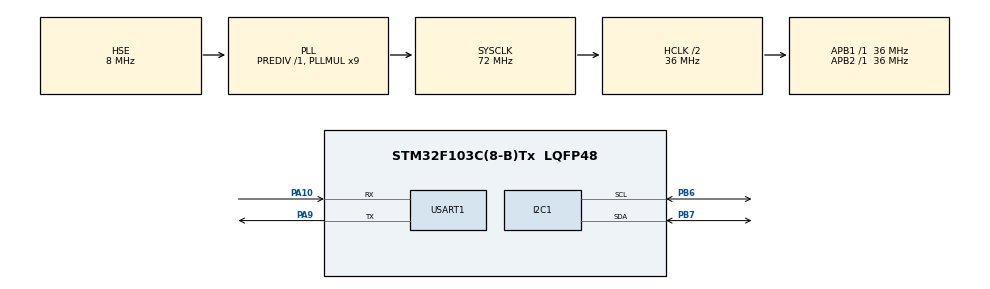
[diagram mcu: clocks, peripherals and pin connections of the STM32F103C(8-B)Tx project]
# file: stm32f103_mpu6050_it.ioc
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Mcu.Family=STM32F1
Mcu.Name=STM32F103C(8-B)Tx
Mcu.Package=LQFP48
NVIC.PriorityGroup=NVIC_PRIORITYGROUP_4
NVIC.TIM2_IRQn=true\:0\:0\:false\:false\:true\:true
PA10.Mode=Asynchronous
PA10.Signal=USART1_RX
PA9.Mode=Asynchronous
PA9.Signal=USART1_TX
PB6.Mode=I2C
PB6.Signal=I2C1_SCL
PB7.Mode=I2C
PB7.Signal=I2C1_SDA
PD0-OSC_IN.Mode=HSE-External-Oscillator
PD0-OSC_IN.Signal=RCC_OSC_IN
PD1-OSC_OUT.Mode=HSE-External-Oscillator
PD1-OSC_OUT.Signal=RCC_OSC_OUT
ProjectManager.HeapSize=0x200
ProjectManager.StackSize=0x400
ProjectManager.TargetToolchain=SW4STM32
RCC.AHBCLKDivider=RCC_SYSCLK_DIV2
RCC.AHBFreq_Value=36000000
RCC.APB1Freq_Value=36000000
RCC.APB1TimFreq_Value=36000000
RCC.APB2Freq_Value=36000000
RCC.APB2TimFreq_Value=36000000
RCC.HCLKFreq_Value=36000000
RCC.PLLMUL=RCC_PLL_MUL9
RCC.PLLSourceVirtual=RCC_PLLSOURCE_HSE
RCC.SYSCLKFreq_VALUE=72000000
RCC.SYSCLKSource=RCC_SYSCLKSOURCE_PLLCLK
RCC.USBFreq_Value=72000000
TIM2.Period=20
TIM2.Prescaler=36000
TIM2.TIM_MasterOutputTrigger=TIM_TRGO_UPDATE
USART1.VirtualMode=VM_ASYNC
VP_SYS_VS_ND.Mode=No_Debug
VP_TIM2_VS_ClockSourceINT.Mode=Internal
board=stm32f103_mpu6050_it

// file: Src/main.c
/**
 ******************************************************************************
 * File Name          : main.c
 * Description        : Main program body
 ******************************************************************************
 ** This notice applies to any and all portions of this file
 * that are not between comment pairs USER CODE BEGIN and
 * USER CODE END. Other portions of this file, whether
 * inserted by the user or by software development tools
 * are owned by their respective copyright owners.
 *
 * COPYRIGHT(c) 2018 STMicroelectronics
 *
 * Redistribution and use in source and binary forms, with or without modification,
 * are permitted provided that the following conditions are met:
 *   1. Redistributions of source code must retain the above copyright notice,
 *      this list of conditions and the following disclaimer.
 *   2. Redistributions in binary form must reproduce the above copyright notice,
 *      this list of conditions and the following disclaimer in the documentation
 *      and/or other materials provided with the distribution.
 *   3. Neither the name of STMicroelectronics nor the names of its contributors
 *      may be used to endorse or promote products derived from this software
 *      without specific prior written permission.
 *
 * THIS SOFTWARE IS PROVIDED BY THE COPYRIGHT HOLDERS AND CONTRIBUTORS "AS IS"
 * AND ANY EXPRESS OR IMPLIED WARRANTIES, INCLUDING, BUT NOT LIMITED TO, THE
 * IMPLIED WARRANTIES OF MERCHANTABILITY AND FITNESS FOR A PARTICULAR PURPOSE ARE
 * DISCLAIMED. IN NO EVENT SHALL THE COPYRIGHT HOLDER OR CONTRIBUTORS BE LIABLE
 * FOR ANY DIRECT, INDIRECT, INCIDENTAL, SPECIAL, EXEMPLARY, OR CONSEQUENTIAL
 * DAMAGES (INCLUDING, BUT NOT LIMITED TO, PROCUREMENT OF SUBSTITUTE GOODS OR
 * SERVICES; LOSS OF USE, DATA, OR PROFITS; OR BUSINESS INTERRUPTION) HOWEVER
 * CAUSED AND ON ANY THEORY OF LIABILITY, WHETHER IN CONTRACT, STRICT LIABILITY,
 * OR TORT (INCLUDING NEGLIGENCE OR OTHERWISE) ARISING IN ANY WAY OUT OF THE USE
 * OF THIS SOFTWARE, EVEN IF ADVISED OF THE POSSIBILITY OF SUCH DAMAGE.
 *
 ******************************************************************************
 */

#include "main.h"
#include "stm32f1xx_hal.h"

/* USER CODE BEGIN Includes */
#include "MPU6050/MPU6050.h"
#include <string.h>
#include <inttypes.h>
#include <stdbool.h>

/* USER CODE END Includes */

I2C_HandleTypeDef hi2c1;

TIM_HandleTypeDef htim2;

UART_HandleTypeDef huart1;

/* USER CODE BEGIN PV */
/* Private variables ---------------------------------------------------------*/

/* USER CODE END PV */

void SystemClock_Config(void);
static void MX_GPIO_Init(void);
static void MX_I2C1_Init(void);
static void MX_USART1_UART_Init(void);
static void MX_TIM2_Init(void);

/* USER CODE BEGIN PFP */
/* Private function prototypes -----------------------------------------------*/

/* USER CODE END PFP */

/* USER CODE BEGIN 0 */
/*----------------------------------------------------------
 *	Platform dependent function that performs an I2C write
 *	to a register.
 *
 *	params:
 *
 *	addr -- 8 bit i2c address to write to.
 *
 *	reg -- 8 bit register to write to.
 *
 *	*data -- 8 bit wide data buffer that holds data one
 *	wishes to write to.
 *
 *	len -- number of bytes to write.
 *---------------------------------------------------------*/
uint32_t I2C_TIMEOUT = 50;
void _i2c_write_reg(uint8_t addr, uint8_t reg, uint8_t *data, uint16_t len) {
	HAL_I2C_Mem_Write(&hi2c1, addr, reg,
	I2C_MEMADD_SIZE_8BIT, data, len, I2C_TIMEOUT);
}

/*----------------------------------------------------------
 *	Platform dependent function that performs an I2C read
 *	from a register.
 *
 *	params:
 *
 *	addr -- 8 bit i2c address to read from.
 *
 *	reg -- 8 bit register to start reading from.
 *
 *	*data -- 8 bit wide data buffer to holds data that will
 *	be read.
 *
 *	len -- number of bytes to read.
 *---------------------------------------------------------*/
void _i2c_read_reg(uint8_t addr, uint8_t reg, uint8_t *data, uint16_t len) {
	HAL_I2C_Mem_Read(&hi2c1, addr, reg,
	I2C_MEMADD_SIZE_8BIT, data, len, I2C_TIMEOUT);
}

/*-----------------------------------------
 *	Platform dependent function that
 *	returns the number of milliseconds
 *	elapsed since boot as an unsigned 32
 *	bit value.
 *----------------------------------------*/
uint32_t _get_ms_tick(void) {
	return HAL_GetTick();
}

/*-----------------------------------------
 *	Platform dependent function that sends
 *	a string to the onboard USART.
 *
 *	params:
 *
 *	*str -- string that will be sent
 *
 *	len -- length of the string to be
 *	sent.
 *----------------------------------------*/
uint32_t UART_TIMEOUT = 50;
void uart_print(char *str, uint32_t len) {
	HAL_UART_Transmit(&huart1, (uint8_t *) str, len, 50);
}

//string buffer that is used for concatenating and
//constructing strings.
char strbuf[64];

/*-------------------------------------------
 *	Function that flushes the string buffer.
 *------------------------------------------*/
void flush_strbuf() {
	memset(strbuf, 0, 64);
}

/*********************************************************************/

//struct for holding IMU readings
Mpu6050 mpu6050;

//floats for holding pitch/roll angles
volatile float pitch, roll;

void HAL_TIM_PeriodElapsedCallback(TIM_HandleTypeDef *htim) {

	UNUSED(htim);

	//update IMU, and calculate pitch/roll angles
	mpu6050_update(&mpu6050);
	mpu6050_calc_pitch_roll(&mpu6050, &pitch, &roll);
}

/* USER CODE END 0 */

int main(void) {

	/* MCU Configuration----------------------------------------------------------*/

	/* Reset of all peripherals, Initializes the Flash interface and the Systick. */
	HAL_Init();

	/* Configure the system clock */
	SystemClock_Config();

	/* Initialize all configured peripherals */
	MX_GPIO_Init();
	MX_I2C1_Init();
	MX_USART1_UART_Init();
	MX_TIM2_Init();

	/* USER CODE BEGIN 2 */
	//Populate mpu6050 function pointers to platform dependent functions
	//declared above.
	I2C_Write_Reg = _i2c_write_reg;
	I2C_Read_Reg = _i2c_read_reg;
	Get_ms_tick = _get_ms_tick;

	mpu6050_init(&mpu6050, 0.00, 0.00);

	HAL_TIM_Base_Start_IT(&htim2);

	/* USER CODE END 2 */

	/* Infinite loop */
	/* USER CODE BEGIN WHILE */
	while (1) {

		//flush string buffer, and then write pitch/roll values
		//into a debug message. Write this message to the USART
		//so it can be viewed in a terminal emulator(115200 baud,
		//8 bits data, 1 stop bit, no parity, no flow control)
		flush_strbuf();
		sprintf(strbuf, "Pitch: %f, Roll: %f\n", pitch, roll);
		uart_print(strbuf, strlen(strbuf));

		/* USER CODE END WHILE */

	}

}

/** System Clock Configuration
 */
void SystemClock_Config(void) {

	RCC_OscInitTypeDef RCC_OscInitStruct;
	RCC_ClkInitTypeDef RCC_ClkInitStruct;

	/**Initializes the CPU, AHB and APB busses clocks
	 */
	RCC_OscInitStruct.OscillatorType = RCC_OSCILLATORTYPE_HSE;
	RCC_OscInitStruct.HSEState = RCC_HSE_ON;
	RCC_OscInitStruct.HSEPredivValue = RCC_HSE_PREDIV_DIV1;
	RCC_OscInitStruct.HSIState = RCC_HSI_ON;
	RCC_OscInitStruct.PLL.PLLState = RCC_PLL_ON;
	RCC_OscInitStruct.PLL.PLLSource = RCC_PLLSOURCE_HSE;
	RCC_OscInitStruct.PLL.PLLMUL = RCC_PLL_MUL9;
	if (HAL_RCC_OscConfig(&RCC_OscInitStruct) != HAL_OK) {
		_Error_Handler(__FILE__, __LINE__);
	}

	/**Initializes the CPU, AHB and APB busses clocks
	 */
	RCC_ClkInitStruct.ClockType = RCC_CLOCKTYPE_HCLK | RCC_CLOCKTYPE_SYSCLK
			| RCC_CLOCKTYPE_PCLK1 | RCC_CLOCKTYPE_PCLK2;
	RCC_ClkInitStruct.SYSCLKSource = RCC_SYSCLKSOURCE_PLLCLK;
	RCC_ClkInitStruct.AHBCLKDivider = RCC_SYSCLK_DIV2;
	RCC_ClkInitStruct.APB1CLKDivider = RCC_HCLK_DIV1;
	RCC_ClkInitStruct.APB2CLKDivider = RCC_HCLK_DIV1;

	if (HAL_RCC_ClockConfig(&RCC_ClkInitStruct, FLASH_LATENCY_2) != HAL_OK) {
		_Error_Handler(__FILE__, __LINE__);
	}

	/**Configure the Systick interrupt time
	 */
	HAL_SYSTICK_Config(HAL_RCC_GetHCLKFreq() / 1000);

	/**Configure the Systick
	 */
	HAL_SYSTICK_CLKSourceConfig(SYSTICK_CLKSOURCE_HCLK);

	/* SysTick_IRQn interrupt configuration */
	HAL_NVIC_SetPriority(SysTick_IRQn, 0, 0);
}

/* I2C1 init function */
static void MX_I2C1_Init(void) {

	hi2c1.Instance = I2C1;
	hi2c1.Init.ClockSpeed = 100000;
	hi2c1.Init.DutyCycle = I2C_DUTYCYCLE_2;
	hi2c1.Init.OwnAddress1 = 0;
	hi2c1.Init.AddressingMode = I2C_ADDRESSINGMODE_7BIT;
	hi2c1.Init.DualAddressMode = I2C_DUALADDRESS_DISABLE;
	hi2c1.Init.OwnAddress2 = 0;
	hi2c1.Init.GeneralCallMode = I2C_GENERALCALL_DISABLE;
	hi2c1.Init.NoStretchMode = I2C_NOSTRETCH_DISABLE;
	if (HAL_I2C_Init(&hi2c1) != HAL_OK) {
		_Error_Handler(__FILE__, __LINE__);
	}

}

/* TIM2 init function */
static void MX_TIM2_Init(void) {

	TIM_ClockConfigTypeDef sClockSourceConfig;
	TIM_MasterConfigTypeDef sMasterConfig;

	htim2.Instance = TIM2;
	htim2.Init.Prescaler = 36000;
	htim2.Init.CounterMode = TIM_COUNTERMODE_UP;
	htim2.Init.Period = 20;
	htim2.Init.ClockDivision = TIM_CLOCKDIVISION_DIV1;
	htim2.Init.AutoReloadPreload = TIM_AUTORELOAD_PRELOAD_DISABLE;
	if (HAL_TIM_Base_Init(&htim2) != HAL_OK) {
		_Error_Handler(__FILE__, __LINE__);
	}

	sClockSourceConfig.ClockSource = TIM_CLOCKSOURCE_INTERNAL;
	if (HAL_TIM_ConfigClockSource(&htim2, &sClockSourceConfig) != HAL_OK) {
		_Error_Handler(__FILE__, __LINE__);
	}

	sMasterConfig.MasterOutputTrigger = TIM_TRGO_UPDATE;
	sMasterConfig.MasterSlaveMode = TIM_MASTERSLAVEMODE_DISABLE;
	if (HAL_TIMEx_MasterConfigSynchronization(&htim2, &sMasterConfig)
			!= HAL_OK) {
		_Error_Handler(__FILE__, __LINE__);
	}

}

/* USART1 init function */
static void MX_USART1_UART_Init(void) {

	huart1.Instance = USART1;
	huart1.Init.BaudRate = 115200;
	huart1.Init.WordLength = UART_WORDLENGTH_8B;
	huart1.Init.StopBits = UART_STOPBITS_1;
	huart1.Init.Parity = UART_PARITY_NONE;
	huart1.Init.Mode = UART_MODE_TX_RX;
	huart1.Init.HwFlowCtl = UART_HWCONTROL_NONE;
	huart1.Init.OverSampling = UART_OVERSAMPLING_16;
	if (HAL_UART_Init(&huart1) != HAL_OK) {
		_Error_Handler(__FILE__, __LINE__);
	}

}

/** Configure pins as
 * Analog
 * Input
 * Output
 * EVENT_OUT
 * EXTI
 */
static void MX_GPIO_Init(void) {

	/* GPIO Ports Clock Enable */
	__HAL_RCC_GPIOD_CLK_ENABLE()
	;
	__HAL_RCC_GPIOA_CLK_ENABLE()
	;
	__HAL_RCC_GPIOB_CLK_ENABLE()
	;

}

void _Error_Handler(char * file, int line) {
	while (1) {
	}
}

/************************ (C) COPYRIGHT STMicroelectronics *****END OF FILE****/
